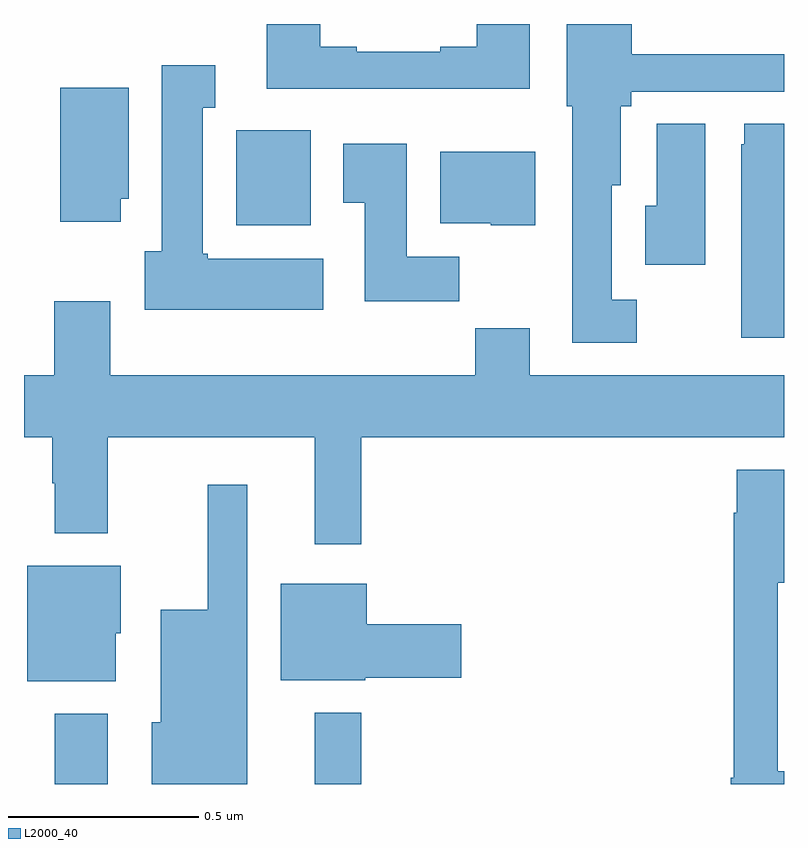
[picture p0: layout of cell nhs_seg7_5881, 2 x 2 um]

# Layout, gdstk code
import gdstk
lib = gdstk.Library(unit=1e-6, precision=1e-09)
def R(c, l, rs):  # rectangles x0, y0, x1, y1
    for r in rs: c.add(gdstk.rectangle(r[:2], r[2:], *l))
def P(c, l, *ps):  # polygons
    for p in ps: c.add(gdstk.Polygon(p, *l))
L2000_40 = (2000, 40)

nhs_seg7_5881 = lib.new_cell('nhs_seg7_5881')
R(nhs_seg7_5881, L2000_40, [(191.081,1037,191.221,1037.185), (191.765,1037,191.887,1037.188), (191.559,1038.47,191.755,1038.72)])
P(nhs_seg7_5881, L2000_40, [(192.331,1039),(192.191,1039),(192.191,1038.94),(192.095,1038.94),(192.095,1038.927),(191.875,1038.927),(191.875,1038.94),(191.779,1038.94),(191.779,1039),(191.639,1039),(191.639,1038.83),(192.331,1038.83)],
  [(192.613,1038.274),(192.547,1038.274),(192.547,1038.576),(192.571,1038.576),(192.571,1038.783),(192.598,1038.783),(192.598,1038.822),(193,1038.822),(193,1038.921),(192.599,1038.921),(192.599,1039),(192.428,1039),(192.428,1038.783),(192.443,1038.783),(192.443,1038.161),(192.613,1038.161)],
  [(191.788,1038.382),(191.484,1038.382),(191.484,1038.396),(191.47,1038.396),(191.47,1038.779),(191.503,1038.779),(191.503,1038.892),(191.363,1038.892),(191.363,1038.402),(191.318,1038.402),(191.318,1038.248),(191.788,1038.248)],
  [(191.254,1038.54),(191.275,1038.54),(191.275,1038.832),(191.096,1038.832),(191.096,1038.48),(191.254,1038.48)],
  [(193,1038.737),(192.896,1038.737),(192.896,1038.684),(192.887,1038.684),(192.887,1038.174),(193,1038.174)],
  [(192.793,1038.737),(192.665,1038.737),(192.665,1038.522),(192.635,1038.522),(192.635,1038.366),(192.793,1038.366)],
  [(192.146,1038.388),(192.007,1038.388),(192.007,1038.685),(191.84,1038.685),(191.84,1038.529),(191.897,1038.529),(191.897,1038.27),(192.146,1038.27)],
  [(192.346,1038.664),(192.095,1038.664),(192.095,1038.476),(192.228,1038.476),(192.228,1038.47),(192.346,1038.47)],
  [(191.887,1037.912),(193,1037.912),(193,1038.076),(192.331,1038.076),(192.331,1038.2),(192.187,1038.2),(192.187,1038.076),(191.227,1038.076),(191.227,1038.271),(191.08,1038.271),(191.08,1038.076),(191,1038.076),(191,1037.912),(191.074,1037.912),(191.074,1037.792),(191.081,1037.792),(191.081,1037.66),(191.221,1037.66),(191.221,1037.912),(191.765,1037.912),(191.765,1037.631),(191.887,1037.631)],
  [(193,1037.033),(192.984,1037.033),(192.984,1037.529),(193,1037.529),(193,1037.827),(192.875,1037.827),(192.875,1037.714),(192.868,1037.714),(192.868,1037.016),(192.86,1037.016),(192.86,1037),(193,1037)],
  [(191.587,1037.788),(191.483,1037.788),(191.483,1037.458),(191.36,1037.458),(191.36,1037.163),(191.336,1037.163),(191.336,1037),(191.587,1037)],
  [(191.242,1037.397),(191.254,1037.397),(191.254,1037.575),(191.009,1037.575),(191.009,1037.27),(191.242,1037.27)],
  [(191.898,1037.279),(192.151,1037.279),(192.151,1037.421),(191.902,1037.421),(191.902,1037.527),(191.675,1037.527),(191.675,1037.273),(191.898,1037.273)])

lib.write_gds('nhs_seg7_5881.gds')
